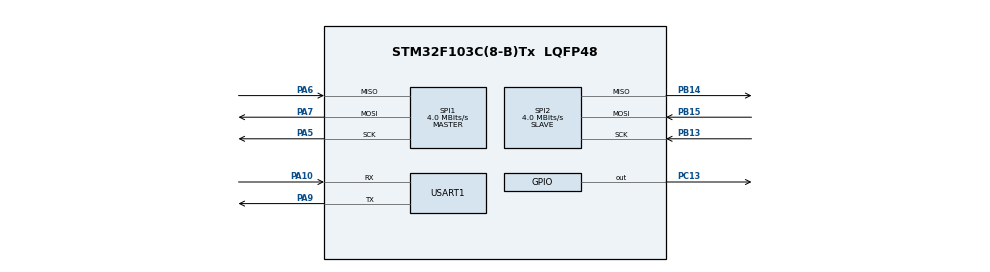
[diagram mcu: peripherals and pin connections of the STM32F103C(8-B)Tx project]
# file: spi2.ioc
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Mcu.Family=STM32F1
Mcu.Name=STM32F103C(8-B)Tx
Mcu.Package=LQFP48
NVIC.PriorityGroup=NVIC_PRIORITYGROUP_4
PA10.Mode=Asynchronous
PA10.Signal=USART1_RX
PA13.Mode=Serial_Wire
PA13.Signal=SYS_JTMS-SWDIO
PA14.Mode=Serial_Wire
PA14.Signal=SYS_JTCK-SWCLK
PA5.Mode=Full_Duplex_Master
PA5.Signal=SPI1_SCK
PA6.Mode=Full_Duplex_Master
PA6.Signal=SPI1_MISO
PA7.Mode=Full_Duplex_Master
PA7.Signal=SPI1_MOSI
PA9.Mode=Asynchronous
PA9.Signal=USART1_TX
PB13.Mode=Full_Duplex_Slave
PB13.Signal=SPI2_SCK
PB14.Mode=Full_Duplex_Slave
PB14.Signal=SPI2_MISO
PB15.Mode=Full_Duplex_Slave
PB15.Signal=SPI2_MOSI
PC13-TAMPER-RTC.Signal=GPIO_Output
ProjectManager.HeapSize=0x200
ProjectManager.StackSize=0x400
ProjectManager.TargetToolchain=STM32CubeIDE
RCC.APB1Freq_Value=8000000
RCC.APB2Freq_Value=8000000
SPI1.CalculateBaudRate=4.0 MBits/s
SPI1.Direction=SPI_DIRECTION_2LINES
SPI1.Mode=SPI_MODE_MASTER
SPI1.VirtualType=VM_MASTER
SPI2.CalculateBaudRate=4.0 MBits/s
SPI2.Direction=SPI_DIRECTION_2LINES
SPI2.Mode=SPI_MODE_SLAVE
SPI2.VirtualType=VM_SLAVE
USART1.VirtualMode=VM_ASYNC
board=custom

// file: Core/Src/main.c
/* USER CODE BEGIN Header */
/**
  ******************************************************************************
  * @file           : main.c
  * @brief          : Main program body
  ******************************************************************************
  * @attention
  *
  * <h2><center>&copy; Copyright (c) 2020 STMicroelectronics.
  * All rights reserved.</center></h2>
  *
  * This software component is licensed by ST under BSD 3-Clause license,
  * the "License"; You may not use this file except in compliance with the
  * License. You may obtain a copy of the License at:
  *                        opensource.org/licenses/BSD-3-Clause
  *
  ******************************************************************************
  */
/* USER CODE END Header */
#include "main.h"

SPI_HandleTypeDef hspi1;
SPI_HandleTypeDef hspi2;

UART_HandleTypeDef huart1;

void SystemClock_Config(void);
static void MX_GPIO_Init(void);
static void MX_SPI1_Init(void);
static void MX_SPI2_Init(void);
static void MX_USART1_UART_Init(void);

/* USER CODE BEGIN 0 */

void error(){
	  HAL_GPIO_WritePin(GPIOC, GPIO_PIN_13, 0);
	  HAL_Delay(200);
	  HAL_GPIO_WritePin(GPIOC, GPIO_PIN_13, 1);
	  HAL_Delay(200);
}

void SPI1_SendByte(uint8_t Byte){
	  if(HAL_SPI_Transmit(&hspi1,(uint8_t*) &Byte,1,0x200)!=HAL_OK) {
		  error();
	  }
}

void SPI2_SendByte(uint8_t Byte){
	  if(HAL_SPI_Transmit(&hspi2,(uint8_t*) &Byte,1,0x200)!=HAL_OK) {
		  error();
	  }
}

uint8_t SPI1_ReceiveByte(){
	  uint8_t receivedbyte = 0;
	  if(HAL_SPI_Receive(&hspi1,(uint8_t*) &receivedbyte,1,0x200)!=HAL_OK) {
		  error();
	  }
	  return receivedbyte;
}

//-----------------------------------------------

uint8_t SPI2_ReceiveByte(){
	  uint8_t receivedbyte = 0;
	  if(HAL_SPI_Receive(&hspi2,(uint8_t*) &receivedbyte,1,0x200)!=HAL_OK) {
		  error();
	  }
	  return receivedbyte;
}

//-----------------------------------------------
/* USER CODE END 0 */

int main(void)
{

  /* MCU Configuration--------------------------------------------------------*/

  /* Reset of all peripherals, Initializes the Flash interface and the Systick. */
  HAL_Init();

  /* Configure the system clock */
  SystemClock_Config();

  /* Initialize all configured peripherals */
  MX_GPIO_Init();
  MX_SPI1_Init();
  MX_SPI2_Init();
  MX_USART1_UART_Init();
  /* USER CODE BEGIN 2 */
  int ledState = 0;
  /* USER CODE END 2 */

  /* Infinite loop */
  /* USER CODE BEGIN WHILE */
  HAL_GPIO_WritePin(GPIOC, GPIO_PIN_13, 1);
  while (1)
  {
    /* USER CODE END WHILE */

    /* USER CODE BEGIN 3 */
	  while ((USART1->SR & USART_SR_RXNE) == 0) {}
	        uint8_t d = USART1->DR;
	  SPI1_SendByte(d);
	  uint8_t data1 = SPI2_ReceiveByte();
	  while ((USART1->SR & USART_SR_TXE) == 0) {}
	        USART1->DR = data1;
  }
  /* USER CODE END 3 */
}

void SystemClock_Config(void)
{
  RCC_OscInitTypeDef RCC_OscInitStruct = {0};
  RCC_ClkInitTypeDef RCC_ClkInitStruct = {0};

  /** Initializes the RCC Oscillators according to the specified parameters
  * in the RCC_OscInitTypeDef structure.
  */
  RCC_OscInitStruct.OscillatorType = RCC_OSCILLATORTYPE_HSI;
  RCC_OscInitStruct.HSIState = RCC_HSI_ON;
  RCC_OscInitStruct.HSICalibrationValue = RCC_HSICALIBRATION_DEFAULT;
  RCC_OscInitStruct.PLL.PLLState = RCC_PLL_NONE;
  if (HAL_RCC_OscConfig(&RCC_OscInitStruct) != HAL_OK)
  {
    Error_Handler();
  }
  /** Initializes the CPU, AHB and APB buses clocks
  */
  RCC_ClkInitStruct.ClockType = RCC_CLOCKTYPE_HCLK|RCC_CLOCKTYPE_SYSCLK
                              |RCC_CLOCKTYPE_PCLK1|RCC_CLOCKTYPE_PCLK2;
  RCC_ClkInitStruct.SYSCLKSource = RCC_SYSCLKSOURCE_HSI;
  RCC_ClkInitStruct.AHBCLKDivider = RCC_SYSCLK_DIV1;
  RCC_ClkInitStruct.APB1CLKDivider = RCC_HCLK_DIV1;
  RCC_ClkInitStruct.APB2CLKDivider = RCC_HCLK_DIV1;

  if (HAL_RCC_ClockConfig(&RCC_ClkInitStruct, FLASH_LATENCY_0) != HAL_OK)
  {
    Error_Handler();
  }
}

static void MX_SPI1_Init(void)
{

  /* SPI1 parameter configuration*/
  hspi1.Instance = SPI1;
  hspi1.Init.Mode = SPI_MODE_MASTER;
  hspi1.Init.Direction = SPI_DIRECTION_2LINES;
  hspi1.Init.DataSize = SPI_DATASIZE_8BIT;
  hspi1.Init.CLKPolarity = SPI_POLARITY_LOW;
  hspi1.Init.CLKPhase = SPI_PHASE_1EDGE;
  hspi1.Init.NSS = SPI_NSS_SOFT;
  hspi1.Init.BaudRatePrescaler = SPI_BAUDRATEPRESCALER_2;
  hspi1.Init.FirstBit = SPI_FIRSTBIT_MSB;
  hspi1.Init.TIMode = SPI_TIMODE_DISABLE;
  hspi1.Init.CRCCalculation = SPI_CRCCALCULATION_DISABLE;
  hspi1.Init.CRCPolynomial = 10;
  if (HAL_SPI_Init(&hspi1) != HAL_OK)
  {
    Error_Handler();
  }

}

static void MX_SPI2_Init(void)
{

  /* SPI2 parameter configuration*/
  hspi2.Instance = SPI2;
  hspi2.Init.Mode = SPI_MODE_SLAVE;
  hspi2.Init.Direction = SPI_DIRECTION_2LINES;
  hspi2.Init.DataSize = SPI_DATASIZE_8BIT;
  hspi2.Init.CLKPolarity = SPI_POLARITY_LOW;
  hspi2.Init.CLKPhase = SPI_PHASE_1EDGE;
  hspi2.Init.NSS = SPI_NSS_SOFT;
  hspi2.Init.BaudRatePrescaler = SPI_BAUDRATEPRESCALER_2;
  hspi2.Init.FirstBit = SPI_FIRSTBIT_MSB;
  hspi2.Init.TIMode = SPI_TIMODE_DISABLE;
  hspi2.Init.CRCCalculation = SPI_CRCCALCULATION_DISABLE;
  hspi2.Init.CRCPolynomial = 10;
  if (HAL_SPI_Init(&hspi2) != HAL_OK)
  {
    Error_Handler();
  }

}

static void MX_USART1_UART_Init(void)
{

  huart1.Instance = USART1;
  huart1.Init.BaudRate = 115200;
  huart1.Init.WordLength = UART_WORDLENGTH_8B;
  huart1.Init.StopBits = UART_STOPBITS_1;
  huart1.Init.Parity = UART_PARITY_NONE;
  huart1.Init.Mode = UART_MODE_TX_RX;
  huart1.Init.HwFlowCtl = UART_HWCONTROL_NONE;
  huart1.Init.OverSampling = UART_OVERSAMPLING_16;
  if (HAL_UART_Init(&huart1) != HAL_OK)
  {
    Error_Handler();
  }

}

static void MX_GPIO_Init(void)
{
  GPIO_InitTypeDef GPIO_InitStruct = {0};

  /* GPIO Ports Clock Enable */
  __HAL_RCC_GPIOC_CLK_ENABLE();
  __HAL_RCC_GPIOA_CLK_ENABLE();
  __HAL_RCC_GPIOB_CLK_ENABLE();

  /*Configure GPIO pin Output Level */
  HAL_GPIO_WritePin(GPIOC, GPIO_PIN_13, GPIO_PIN_RESET);

  /*Configure GPIO pin : PC13 */
  GPIO_InitStruct.Pin = GPIO_PIN_13;
  GPIO_InitStruct.Mode = GPIO_MODE_OUTPUT_PP;
  GPIO_InitStruct.Pull = GPIO_NOPULL;
  GPIO_InitStruct.Speed = GPIO_SPEED_FREQ_LOW;
  HAL_GPIO_Init(GPIOC, &GPIO_InitStruct);

}

void Error_Handler(void)
{
}

/************************ (C) COPYRIGHT STMicroelectronics *****END OF FILE****/
